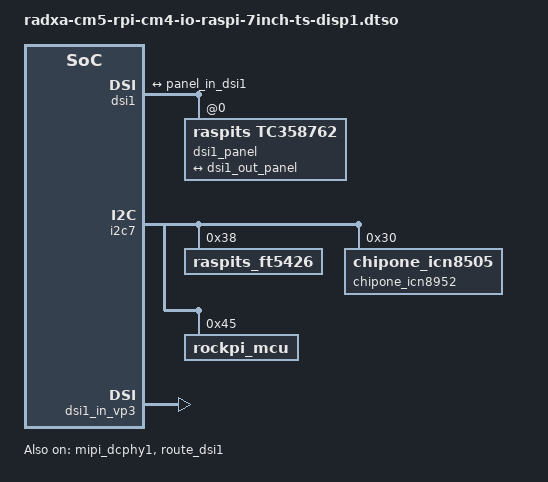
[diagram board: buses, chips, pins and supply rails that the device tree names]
/dts-v1/;
/plugin/;

#include <dt-bindings/interrupt-controller/irq.h>
#include <dt-bindings/gpio/gpio.h>
#include <dt-bindings/pinctrl/rockchip.h>

/ {
	metadata {
		title = "Enable Raspberry Pi 7-inch Touchscreen on DISP1";
		compatible = "radxa,cm5-rpi-cm4-io";
		category = "display";
		exclusive = "dsi1";
		description = "Enable Raspberry Pi 7-inch Touchscreen on DISP1.";
	};
};

&dsi1 {
	status = "okay";
	#address-cells = <1>;
	#size-cells = <0>;
	rockchip,lane-rate = <605>;

	dsi1_panel: dsi-panel@0 {
		compatible = "raspits,tc358762";
		reg = <0x0>;
		status = "okay";

		ports {
			#address-cells = <1>;
			#size-cells = <0>;

			port@0 {
				reg = <0>;
				panel_in_dsi1: endpoint {
					remote-endpoint = <&dsi1_out_panel>;
				};
			};
		};
	};

	ports {
		#address-cells = <1>;
		#size-cells = <0>;

		port@1 {
			reg = <1>;
			dsi1_out_panel: endpoint {
				remote-endpoint = <&panel_in_dsi1>;
			};
		};
	};
};

&i2c7 {
	status = "okay";
	pinctrl-0 = <&i2c7m2_xfer>;
	#address-cells = <1>;
	#size-cells = <0>;

	raspits_ft5426: raspits_ft5426@38 {
		compatible = "raspits_ft5426";
		reg = <0x38>;
	};

	chipone_icn8952: chipone_icn8952@30 {
		compatible = "chipone_icn8505";
		reg = <0x30>;
	};

	rockpi_mcu: rockpi-mcu@45 {
		compatible = "rockpi_mcu";
		reg = <0x45>;
	};
};

&mipi_dcphy1 {
	status = "okay";
};

&route_dsi1 {
	status = "okay";
	connect = <&vp3_out_dsi1>;
};

&dsi1_in_vp2 {
	status = "disabled";
};

&dsi1_in_vp3 {
	status = "okay";
};
